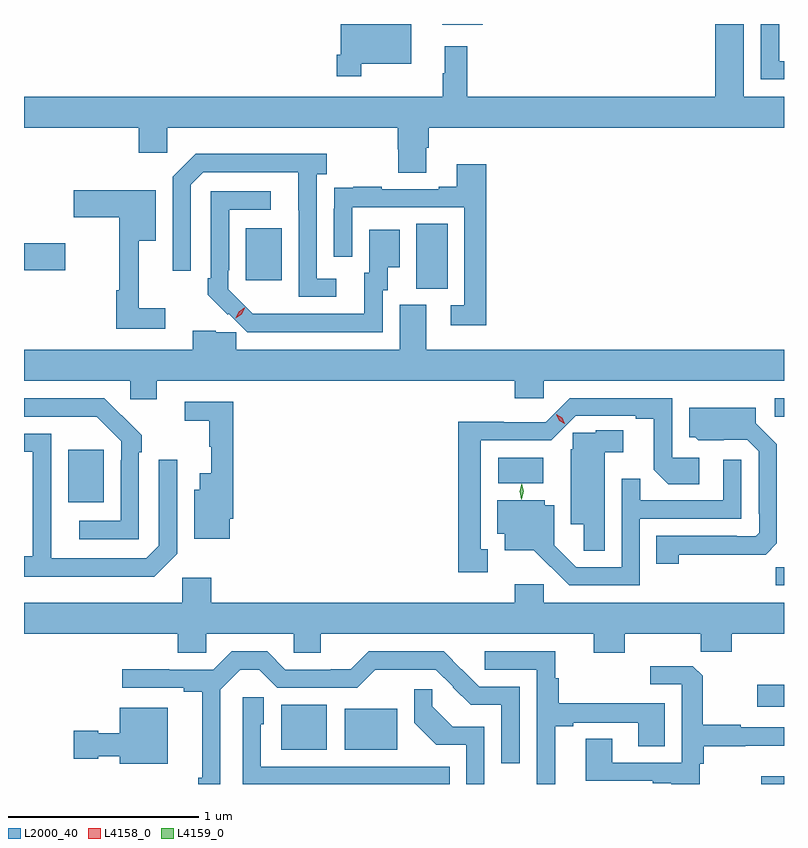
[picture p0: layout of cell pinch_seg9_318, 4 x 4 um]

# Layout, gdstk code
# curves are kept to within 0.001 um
import gdstk
lib = gdstk.Library(unit=1e-6, precision=1e-09)
def R(c, l, rs):  # rectangles x0, y0, x1, y1
    for r in rs: c.add(gdstk.rectangle(r[:2], r[2:], *l))
def P(c, l, *ps):  # polygons
    for p in ps: c.add(gdstk.Polygon(p, *l))
L2000_40 = (2000, 40)
L4158_0 = (4158, 0)
L4159_0 = (4159, 0)

pinch_seg9_318 = lib.new_cell('pinch_seg9_318')
R(pinch_seg9_318, L2000_40, [(641.37,1174.318,641.489,1174.36), (638.843,1174.499,639.082,1174.735), (639.176,1174.499,639.454,1174.714), (641.349,1174.725,641.489,1174.84), (641.446,1175.364,641.489,1175.459), (637.721,1175.801,637.909,1176.076), (639.984,1175.9,640.222,1176.034), (641.439,1176.252,641.489,1176.348), (639.554,1176.925,639.718,1177.268), (638.657,1176.969,638.845,1177.243), (637.489,1177.021,637.705,1177.163), (639.689,1178.315,639.904,1178.318)])
P(pinch_seg9_318, L2000_40, [(641.489,1178.123),(641.463,1178.123),(641.463,1178.318),(641.367,1178.318),(641.367,1178.028),(641.489,1178.028)],
  [(639.265,1178.108),(639.526,1178.108),(639.526,1178.318),(639.156,1178.318),(639.156,1178.155),(639.136,1178.155),(639.136,1178.043),(639.265,1178.043)],
  [(639.607,1177.666),(639.62,1177.666),(639.62,1177.772),(641.489,1177.772),(641.489,1177.936),(641.278,1177.936),(641.278,1178.317),(641.126,1178.317),(641.126,1177.936),(639.821,1177.936),(639.821,1178.2),(639.704,1178.2),(639.704,1178.06),(639.693,1178.06),(639.693,1177.936),(637.489,1177.936),(637.489,1177.772),(638.093,1177.772),(638.093,1177.641),(638.244,1177.641),(638.244,1177.772),(639.455,1177.772),(639.455,1177.659),(639.46,1177.659),(639.46,1177.534),(639.607,1177.534)],
  [(639.133,1176.978),(639.03,1176.978),(639.03,1177.526),(639.082,1177.526),(639.082,1177.636),(638.392,1177.636),(638.271,1177.515),(638.271,1177.02),(638.367,1177.02),(638.367,1177.473),(638.433,1177.539),(638.933,1177.539),(638.934,1176.882),(639.133,1176.882)],
  [(639.923,1177.579),(639.767,1177.579),(639.767,1177.462),(639.671,1177.462),(639.671,1177.449),(639.371,1177.449),(639.371,1177.462),(639.223,1177.462),(639.223,1177.455),(639.121,1177.455),(639.121,1177.346),(639.12,1177.346),(639.12,1177.092),(639.216,1177.092),(639.216,1177.353),(639.807,1177.353),(639.807,1176.837),(639.735,1176.837),(639.735,1176.732),(639.923,1176.732)],
  [(638.233,1176.823),(638.093,1176.823),(638.093,1177.178),(638.182,1177.178),(638.182,1177.443),(637.752,1177.443),(637.752,1177.301),(637.99,1177.301),(637.99,1176.917),(637.975,1176.917),(637.975,1176.714),(638.233,1176.714)],
  [(639.378,1176.918),(639.403,1176.918),(639.403,1177.037),(639.466,1177.037),(639.466,1177.234),(639.305,1177.234),(639.305,1177.008),(639.281,1177.008),(639.281,1176.792),(638.693,1176.793),(638.565,1176.921),(638.565,1177.021),(638.568,1177.021),(638.568,1177.341),(638.788,1177.341),(638.788,1177.437),(638.472,1177.437),(638.472,1176.979),(638.457,1176.979),(638.457,1176.893),(638.562,1176.788),(638.567,1176.794),(638.664,1176.696),(639.378,1176.696)],
  [(638.188,1176.44),(640.073,1176.44),(640.073,1176.347),(640.224,1176.347),(640.224,1176.44),(641.489,1176.44),(641.489,1176.604),(639.607,1176.604),(639.607,1176.84),(639.467,1176.84),(639.467,1176.604),(638.607,1176.604),(638.607,1176.696),(638.498,1176.696),(638.498,1176.703),(638.378,1176.703),(638.378,1176.604),(637.489,1176.604),(637.489,1176.44),(638.049,1176.44),(638.049,1176.342),(638.188,1176.342)],
  [(639.931,1175.553),(639.892,1175.553),(639.892,1176.126),(640.263,1176.126),(640.393,1176.256),(640.709,1176.256),(640.709,1176.24),(640.803,1176.24),(640.803,1175.972),(640.879,1175.896),(641.044,1175.896),(641.044,1176.036),(640.902,1176.036),(640.902,1176.348),(640.362,1176.348),(640.236,1176.222),(640.014,1176.222),(640.014,1176.224),(639.774,1176.224),(639.774,1175.433),(639.931,1175.433)],
  [(638.094,1176.065),(638.109,1176.065),(638.109,1176.153),(637.912,1176.348),(637.489,1176.348),(637.489,1176.252),(637.873,1176.252),(638.001,1176.123),(638.001,1176.023),(637.998,1176.023),(637.998,1175.703),(637.779,1175.703),(637.779,1175.607),(638.094,1175.607)],
  [(638.572,1175.713),(638.591,1175.713),(638.591,1176.33),(638.334,1176.33),(638.334,1176.229),(638.463,1176.229),(638.463,1176.093),(638.474,1176.093),(638.474,1175.953),(638.414,1175.953),(638.414,1175.866),(638.384,1175.866),(638.384,1175.609),(638.572,1175.609)],
  [(640.935,1175.524),(641.392,1175.525),(641.451,1175.584),(641.451,1176.106),(641.341,1176.216),(641.341,1176.298),(640.991,1176.298),(640.991,1176.144),(641.022,1176.144),(641.038,1176.128),(641.295,1176.129),(641.355,1176.069),(641.355,1175.74),(641.358,1175.74),(641.358,1175.64),(641.34,1175.622),(641.24,1175.622),(641.24,1175.625),(640.816,1175.625),(640.816,1175.478),(640.935,1175.478)],
  [(640.546,1176.065),(640.642,1176.065),(640.642,1176.18),(640.498,1176.18),(640.498,1176.166),(640.376,1176.166),(640.376,1176.081),(640.366,1176.081),(640.366,1175.684),(640.435,1175.684),(640.435,1175.545),(640.546,1175.545)],
  [(638.295,1175.529),(638.295,1176.025),(638.199,1176.025),(638.199,1175.571),(638.133,1175.505),(637.633,1175.505),(637.632,1176.162),(637.489,1176.162),(637.489,1176.066),(637.536,1176.066),(637.536,1175.518),(637.489,1175.518),(637.489,1175.408),(638.174,1175.408)],
  [(640.731,1175.715),(641.265,1175.715),(641.265,1176.025),(641.169,1176.025),(641.169,1175.811),(640.733,1175.811),(640.733,1175.924),(640.635,1175.924),(640.635,1175.46),(640.395,1175.46),(640.281,1175.575),(640.281,1175.785),(640.23,1175.785),(640.23,1175.812),(639.98,1175.812),(639.98,1175.636),(640.019,1175.636),(640.019,1175.549),(640.171,1175.549),(640.358,1175.364),(640.731,1175.364)],
  [(640.651,1175.108),(641.051,1175.108),(641.051,1175.015),(641.215,1175.015),(641.215,1175.108),(641.489,1175.108),(641.489,1175.272),(640.224,1175.272),(640.224,1175.37),(640.073,1175.37),(640.073,1175.272),(638.474,1175.272),(638.474,1175.404),(638.322,1175.404),(638.322,1175.272),(637.489,1175.272),(637.489,1175.108),(638.297,1175.108),(638.297,1175.01),(638.448,1175.01),(638.448,1175.108),(638.91,1175.108),(638.91,1175.01),(639.052,1175.01),(639.052,1175.108),(640.487,1175.108),(640.487,1175.009),(640.651,1175.009)],
  [(638.523,1174.815),(638.627,1174.919),(638.728,1174.919),(638.823,1174.824),(639.243,1174.824),(639.338,1174.919),(639.657,1174.92),(639.747,1174.83),(639.745,1174.828),(639.839,1174.734),(640.002,1174.734),(640.002,1174.428),(640.098,1174.428),(640.098,1174.83),(639.885,1174.83),(639.697,1175.016),(639.303,1175.016),(639.209,1174.922),(639.104,1174.922),(639.104,1174.92),(638.865,1174.92),(638.769,1175.016),(638.582,1175.016),(638.486,1174.92),(638.253,1174.92),(638.253,1174.922),(638.007,1174.922),(638.007,1174.824),(638.33,1174.824),(638.33,1174.804),(638.426,1174.804),(638.426,1174.351),(638.407,1174.351),(638.407,1174.318),(638.523,1174.318)],
  [(640.285,1174.621),(640.381,1174.621),(640.381,1174.641),(640.721,1174.641),(640.721,1174.516),(640.861,1174.516),(640.861,1174.742),(640.304,1174.742),(640.304,1174.874),(640.286,1174.874),(640.286,1175.016),(639.915,1175.016),(639.915,1174.92),(640.188,1174.92),(640.188,1174.318),(640.285,1174.318)],
  [(641.046,1174.424),(641.066,1174.424),(641.066,1174.516),(641.285,1174.516),(641.285,1174.52),(641.489,1174.52),(641.489,1174.617),(641.261,1174.617),(641.261,1174.63),(641.061,1174.63),(641.061,1174.887),(641.009,1174.939),(640.785,1174.939),(640.785,1174.842),(640.95,1174.842),(640.95,1174.431),(640.585,1174.431),(640.585,1174.556),(640.445,1174.556),(640.445,1174.335),(640.799,1174.335),(640.799,1174.323),(640.895,1174.323),(640.895,1174.318),(641.046,1174.318)],
  [(639.912,1174.62),(639.746,1174.62),(639.638,1174.728),(639.638,1174.816),(639.543,1174.816),(639.543,1174.64),(639.659,1174.524),(639.816,1174.524),(639.816,1174.318),(639.912,1174.318)],
  [(639.731,1174.41),(638.736,1174.41),(638.736,1174.632),(638.752,1174.632),(638.752,1174.775),(638.64,1174.775),(638.64,1174.318),(639.731,1174.318)],
  [(638.245,1174.72),(637.994,1174.72),(637.994,1174.585),(637.881,1174.585),(637.881,1174.598),(637.752,1174.598),(637.752,1174.451),(637.881,1174.451),(637.881,1174.463),(637.994,1174.463),(637.994,1174.424),(638.245,1174.424)])
P(pinch_seg9_318, L4158_0, [(640.336,1176.213),(640.306,1176.231),(640.29,1176.263),(640.29,1176.263),(640.291,1176.263),(640.321,1176.245),(640.336,1176.213),(640.336,1176.213)],
  [(638.603,1176.77),(638.603,1176.771),(638.619,1176.804),(638.649,1176.824),(638.65,1176.824),(638.65,1176.824),(638.634,1176.791),(638.603,1176.77)])
P(pinch_seg9_318, L4159_0, [(640.107,1175.817),(640.098,1175.858),(640.108,1175.898),(640.108,1175.899),(640.108,1175.898),(640.118,1175.858),(640.108,1175.817),(640.108,1175.817)])

lib.write_gds('pinch_seg9_318.gds')
